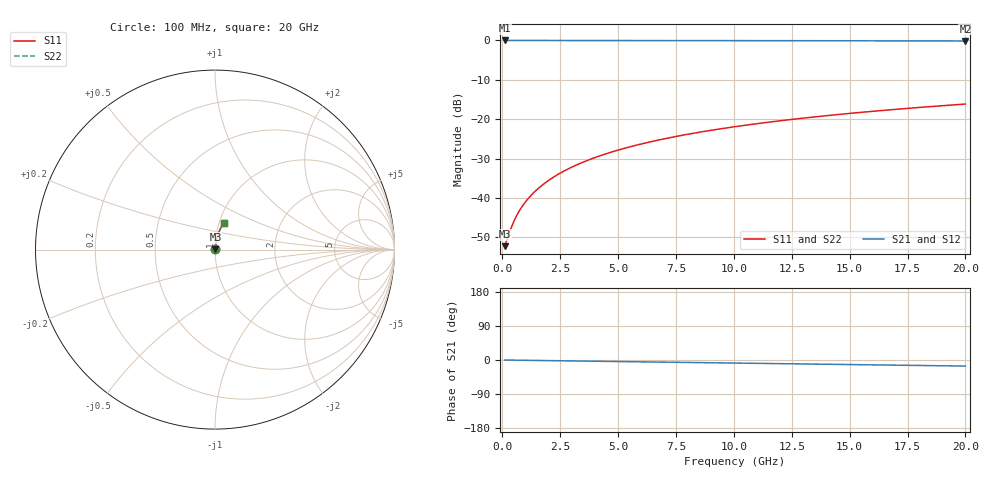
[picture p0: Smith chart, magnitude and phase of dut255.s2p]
! Touchstone file exported from HFSS 2026.1.0
!  File:  C:/ffzhzh/LocalFiles/Ansys_Project_Files/temp_train_TMRDL_255_1782984897_45328.aedt
!  Generated:  05:36:10 PM Jul  2, 2026
!  Design:  TMRDL
!  Project:  temp_train_TMRDL_255_1782984897_45328
! Variables:
!  h_bsmrdl = 2um
!  h_ox = 20um
!  h_rdl = 5um
!  h_sub = 80um
!  h_tmrdl = 2.02um
!  h_tsv = 80um
!  h_via = 3um
!  l_bsmrdl = 300um
!  l_sub = 606.75um
!  l_tmrdl = 206.75um
!  m_sub = 200um
!  pitch = 37.36um
!  r_tsv = 6um
!  s_tmrdl = 10um
!  w_bsmrdl = 18um
!  w_sub = 500um
!  w_tmrdl = 19.42um
!  x_tsv_center1 = 216.46um
!  x_tsv_center2 = 534.46um
!  x_tsv_center3 = 760.63um
!  x_tsv_center4 = 1078.63um
!  x_tsv_center5 = 1304.8um
!  x_tsv_center6 = 1622.8um
# GHz S MA R 50.000000
! Terminal data exported
! Port[1] = TM_RDL1_1_T1
! Port[2] = TM_RDL1_1_T2
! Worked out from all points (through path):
!   200 points, 100 MHz to 20 GHz, reference 50 ohm
!   highest |S21| = -0.02 dB at 100 MHz (marker M1); lowest = -0.2 dB at 20 GHz (marker M2)
!   group delay of S21, straight-line fit = 2.22 ps
!   lowest |S11| = -52.3 dB at 100 MHz (marker M3), VSWR 1.00, Z = 50.2 + j0.0905 ohm
!   |S11| at or under -10 dB: start of sweep to end of sweep
!   |S22| runs from -52.3 to -16.2 dB; largest |S21 - S12| = 2.1e-15
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0.1  0.002439 21.7  0.9977 -0.1  0.9977 -0.1  0.002439 21.7
! Gamma 0 0 0 0
! Port Impedance 50 0 50 0
0.4  0.004289 55.5  0.9976 -0.3  0.9976 -0.3  0.004289 55.5
0.5  0.005044 60.2  0.9975 -0.4  0.9975 -0.4  0.005044 60.2
0.6  0.005811 63.6  0.9974 -0.5  0.9974 -0.5  0.005811 63.6
0.7  0.006583 66.1  0.9974 -0.6  0.9974 -0.6  0.006582 66.1
0.9  0.008126 69.8  0.9973 -0.8  0.9973 -0.8  0.008126 69.8
1.2  0.01044 73.3  0.9971 -1.0  0.9971 -1.0  0.01044 73.3
1.4  0.01199 75.0  0.9971 -1.2  0.9971 -1.2  0.01199 75.0
1.7  0.01433 76.8  0.997 -1.4  0.997 -1.4  0.01433 76.8
2.2  0.01825 78.7  0.9968 -1.8  0.9968 -1.8  0.01825 78.7
2.8  0.02299 80.0  0.9967 -2.3  0.9967 -2.3  0.02299 80.0
3.5  0.02854 80.8  0.9964 -2.9  0.9964 -2.9  0.02854 80.8
4.2  0.0341 81.1  0.9962 -3.4  0.9962 -3.4  0.0341 81.2
5  0.04046 81.2  0.9959 -4.1  0.9959 -4.1  0.04046 81.3
5.9  0.0476 81.1  0.9955 -4.8  0.9955 -4.8  0.0476 81.1
6.8  0.05473 80.8  0.995 -5.5  0.995 -5.5  0.05473 80.8
8.3  0.06656 80.0  0.9941 -6.7  0.9941 -6.7  0.06656 80.1
10.1  0.08064 79.0  0.9928 -8.2  0.9928 -8.2  0.08064 79.0
11.7  0.09306 77.9  0.9914 -9.5  0.9914 -9.5  0.09305 78.0
13.4  0.1061 76.7  0.9898 -10.8  0.9898 -10.8  0.1061 76.8
16.7  0.1311 74.3  0.9863 -13.4  0.9863 -13.4  0.1311 74.4
20  0.1554 71.9  0.9822 -16.0  0.9822 -16.0  0.1554 72.0
